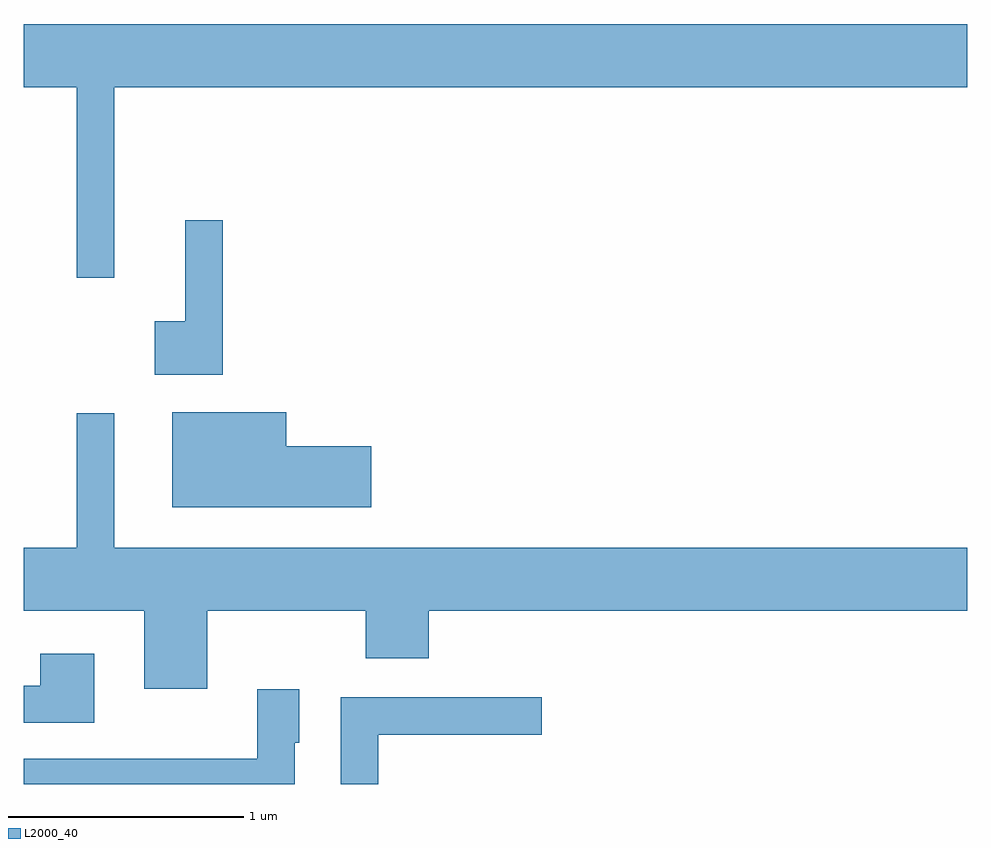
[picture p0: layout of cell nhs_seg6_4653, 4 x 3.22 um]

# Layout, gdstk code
import gdstk
lib = gdstk.Library(unit=1e-6, precision=1e-09)
def P(c, l, *ps):  # polygons
    for p in ps: c.add(gdstk.Polygon(p, *l))
L2000_40 = (2000, 40)

nhs_seg6_4653 = lib.new_cell('nhs_seg6_4653')
P(nhs_seg6_4653, L2000_40, [(327.994,1581.116),(331.611,1581.116),(331.611,1581.384),(327.611,1581.384),(327.611,1581.116),(327.836,1581.116),(327.836,1580.308),(327.994,1580.308)],
  [(328.454,1580.553),(328.296,1580.553),(328.296,1580.124),(328.166,1580.124),(328.166,1579.896),(328.454,1579.896)],
  [(329.084,1579.594),(328.724,1579.594),(328.724,1579.739),(328.241,1579.739),(328.241,1579.336),(329.084,1579.336)],
  [(328.389,1578.896),(329.061,1578.896),(329.061,1578.696),(329.329,1578.696),(329.329,1578.896),(331.611,1578.896),(331.611,1579.164),(327.994,1579.164),(327.994,1579.733),(327.836,1579.733),(327.836,1579.164),(327.611,1579.164),(327.611,1578.896),(328.121,1578.896),(328.121,1578.566),(328.389,1578.566)],
  [(327.909,1578.714),(327.681,1578.714),(327.681,1578.579),(327.611,1578.579),(327.611,1578.421),(327.909,1578.421)],
  [(328.759,1578.336),(328.779,1578.336),(328.779,1578.564),(328.601,1578.564),(328.601,1578.269),(327.611,1578.269),(327.611,1578.162),(328.759,1578.162)],
  [(329.114,1578.371),(329.808,1578.371),(329.808,1578.529),(328.956,1578.529),(328.956,1578.162),(329.114,1578.162)])

lib.write_gds('nhs_seg6_4653.gds')
